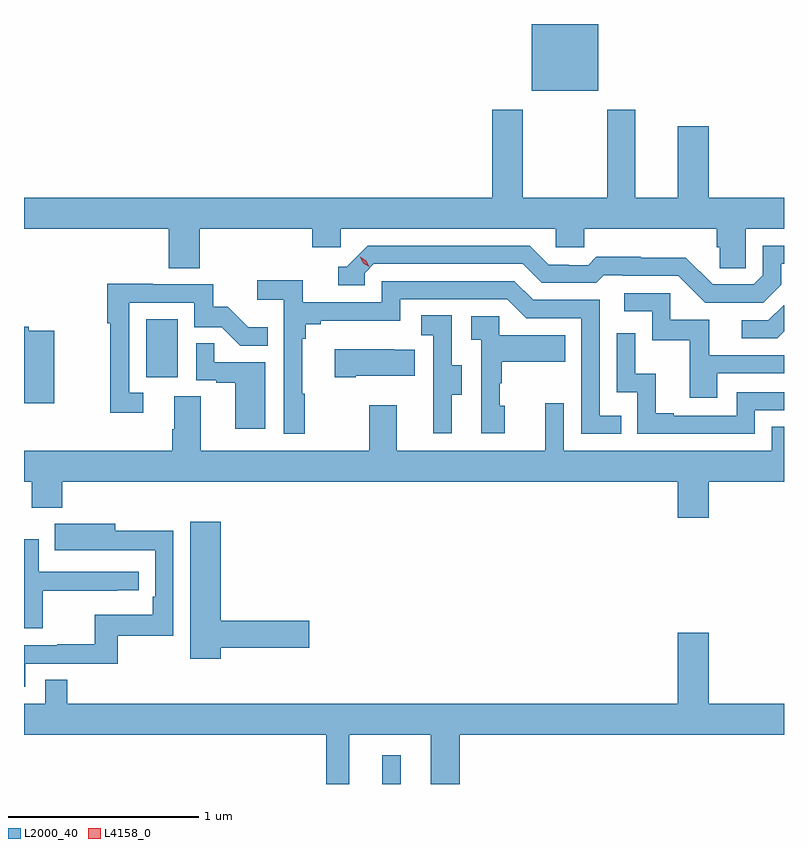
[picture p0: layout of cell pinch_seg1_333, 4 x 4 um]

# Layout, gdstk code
import gdstk
lib = gdstk.Library(unit=1e-6, precision=1e-09)
def R(c, l, rs):  # rectangles x0, y0, x1, y1
    for r in rs: c.add(gdstk.rectangle(r[:2], r[2:], *l))
def P(c, l, *ps):  # polygons
    for p in ps: c.add(gdstk.Polygon(p, *l))
L2000_40 = (2000, 40)
L4158_0 = (4158, 0)

pinch_seg1_333 = lib.new_cell('pinch_seg1_333')
R(pinch_seg1_333, L2000_40, [(954.662,556.802,954.76,556.954), (953.42,558.942,953.584,559.249), (955.448,560.45,955.798,560.802)])
P(pinch_seg1_333, L2000_40, [(953.702,559.724),(954.293,559.724),(954.293,559.626),(954.444,559.626),(954.444,559.724),(955.575,559.724),(955.575,559.626),(955.725,559.626),(955.725,559.724),(956.423,559.724),(956.423,559.626),(956.437,559.626),(956.437,559.516),(956.574,559.516),(956.574,559.724),(956.776,559.724),(956.776,559.888),(956.38,559.888),(956.38,560.263),(956.216,560.263),(956.216,559.888),(955.993,559.888),(955.993,560.35),(955.846,560.35),(955.846,559.888),(955.401,559.888),(955.401,560.35),(955.241,560.35),(955.241,559.888),(952.776,559.888),(952.776,559.724),(953.537,559.724),(953.537,559.516),(953.702,559.516)],
  [(956.761,559.429),(956.761,559.539),(956.776,559.539),(956.776,559.635),(956.664,559.635),(956.664,559.479),(956.616,559.431),(956.4,559.431),(956.258,559.573),(956.022,559.573),(956.022,559.576),(955.789,559.576),(955.747,559.533),(955.644,559.533),(955.644,559.536),(955.537,559.536),(955.438,559.635),(954.585,559.635),(954.474,559.524),(954.431,559.524),(954.431,559.428),(954.57,559.428),(954.57,559.491),(954.618,559.539),(955.401,559.539),(955.5,559.44),(955.789,559.44),(955.828,559.479),(955.927,559.479),(955.927,559.476),(956.22,559.476),(956.361,559.335),(956.667,559.335)],
  [(954.253,558.857),(954.241,558.857),(954.241,559.145),(954.26,559.145),(954.26,559.222),(954.337,559.222),(954.337,559.241),(954.756,559.241),(954.756,559.353),(955.32,559.353),(955.419,559.254),(955.71,559.254),(955.71,558.645),(955.919,558.645),(955.919,558.741),(955.806,558.741),(955.806,559.35),(955.456,559.35),(955.357,559.449),(954.66,559.449),(954.66,559.338),(954.242,559.338),(954.242,559.454),(954.003,559.454),(954.003,559.352),(954.144,559.352),(954.144,558.645),(954.253,558.645)],
  [(953.404,558.861),(953.331,558.861),(953.331,559.335),(953.673,559.335),(953.673,559.206),(953.817,559.206),(953.915,559.108),(954.059,559.108),(954.059,559.207),(953.955,559.207),(953.848,559.314),(953.772,559.314),(953.772,559.431),(953.453,559.431),(953.453,559.436),(953.215,559.436),(953.215,559.228),(953.23,559.228),(953.23,558.756),(953.404,558.756)],
  [(956.425,558.963),(956.776,558.963),(956.776,559.059),(956.383,559.059),(956.383,559.245),(956.178,559.245),(956.178,559.386),(955.935,559.386),(955.935,559.29),(956.082,559.29),(956.082,559.137),(956.281,559.137),(956.281,558.834),(956.425,558.834)],
  [(956.776,559.185),(956.776,559.322),(956.774,559.322),(956.694,559.242),(956.553,559.242),(956.553,559.149),(956.74,559.149)],
  [(955.027,558.85),(955.081,558.85),(955.081,559.005),(955.026,559.005),(955.026,559.268),(954.867,559.268),(954.867,559.165),(954.93,559.165),(954.93,558.861),(954.929,558.861),(954.929,558.648),(955.027,558.648)],
  [(955.306,558.792),(955.281,558.792),(955.281,558.911),(955.291,558.911),(955.291,559.025),(955.625,559.025),(955.625,559.165),(955.278,559.165),(955.278,559.263),(955.131,559.263),(955.131,559.139),(955.182,559.139),(955.182,558.648),(955.306,558.648)],
  [(952.936,559.188),(952.802,559.188),(952.802,559.208),(952.776,559.208),(952.776,558.807),(952.936,558.807)],
  [(956.622,558.768),(956.776,558.768),(956.776,558.864),(956.526,558.864),(956.526,558.741),(956.197,558.741),(956.197,558.754),(956.102,558.754),(956.102,558.962),(955.992,558.962),(955.992,559.174),(955.896,559.174),(955.896,558.864),(956.004,558.864),(956.004,558.645),(956.622,558.645)],
  [(954.046,559.023),(953.777,559.023),(953.777,559.121),(953.682,559.121),(953.682,558.927),(953.789,558.927),(953.789,558.915),(953.888,558.915),(953.888,558.672),(954.046,558.672)],
  [(954.523,558.95),(954.833,558.95),(954.833,559.087),(954.725,559.087),(954.725,559.09),(954.411,559.09),(954.411,558.943),(954.523,558.943)],
  [(956.38,558.392),(956.776,558.392),(956.776,558.683),(956.712,558.683),(956.712,558.556),(955.617,558.556),(955.617,558.805),(955.52,558.805),(955.52,558.556),(954.739,558.556),(954.739,558.796),(954.592,558.796),(954.592,558.556),(953.707,558.556),(953.707,558.842),(953.567,558.842),(953.567,558.668),(953.555,558.668),(953.555,558.556),(952.776,558.556),(952.776,558.392),(952.816,558.392),(952.816,558.257),(952.976,558.257),(952.976,558.392),(956.216,558.392),(956.216,558.204),(956.38,558.204)],
  [(953.812,557.518),(954.277,557.518),(954.277,557.66),(953.812,557.66),(953.812,558.181),(953.651,558.181),(953.651,557.46),(953.812,557.46)],
  [(952.782,557.436),(953.269,557.436),(953.269,557.583),(953.562,557.583),(953.562,558.134),(953.257,558.134),(953.257,558.172),(952.939,558.172),(952.939,558.032),(953.153,558.032),(953.153,558.033),(953.466,558.033),(953.466,557.788),(953.453,557.788),(953.453,557.692),(953.148,557.692),(953.148,557.537),(952.951,557.537),(952.951,557.532),(952.776,557.532),(952.776,557.313),(952.782,557.313)],
  [(952.874,557.818),(953.267,557.818),(953.267,557.823),(953.38,557.823),(953.38,557.919),(952.854,557.919),(952.854,558.091),(952.776,558.091),(952.776,557.622),(952.874,557.622)],
  [(954.487,557.06),(954.917,557.06),(954.917,556.802),(955.07,556.802),(955.07,557.06),(956.776,557.06),(956.776,557.224),(956.38,557.224),(956.38,557.599),(956.216,557.599),(956.216,557.224),(953.003,557.224),(953.003,557.351),(952.887,557.351),(952.887,557.224),(952.776,557.224),(952.776,557.06),(954.366,557.06),(954.366,556.802),(954.487,556.802)])
P(pinch_seg1_333, L4158_0, [(954.593,559.524),(954.562,559.544),(954.547,559.577),(954.547,559.577),(954.547,559.577),(954.578,559.557),(954.593,559.524),(954.593,559.524)])

lib.write_gds('pinch_seg1_333.gds')
